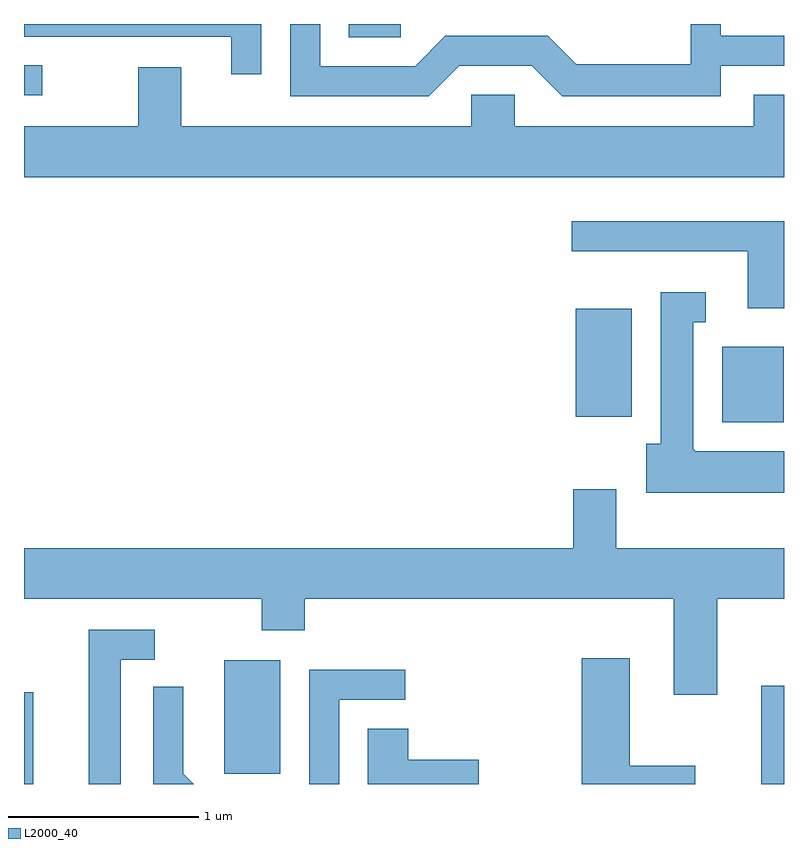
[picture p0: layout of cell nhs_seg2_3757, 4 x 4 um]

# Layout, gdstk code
import gdstk
lib = gdstk.Library(unit=1e-6, precision=1e-09)
def R(c, l, rs):  # rectangles x0, y0, x1, y1
    for r in rs: c.add(gdstk.rectangle(r[:2], r[2:], *l))
def P(c, l, *ps):  # polygons
    for p in ps: c.add(gdstk.Polygon(p, *l))
L2000_40 = (2000, 40)

nhs_seg2_3757 = lib.new_cell('nhs_seg2_3757')
R(nhs_seg2_3757, L2000_40, [(295.611,1031.802,295.659,1032.284), (299.491,1031.802,299.611,1032.319), (296.666,1031.856,296.959,1032.454), (299.286,1033.706,299.609,1034.104), (298.516,1033.736,298.809,1034.304), (295.611,1035.426,295.708,1035.584), (297.321,1035.731,297.593,1035.802)])
P(nhs_seg2_3757, L2000_40, [(297.902,1035.581),(298.284,1035.581),(298.444,1035.421),(299.279,1035.421),(299.279,1035.581),(299.611,1035.581),(299.611,1035.739),(299.279,1035.739),(299.279,1035.802),(299.121,1035.802),(299.121,1035.589),(298.517,1035.589),(298.367,1035.739),(297.829,1035.739),(297.669,1035.579),(297.169,1035.579),(297.169,1035.802),(297.011,1035.802),(297.011,1035.421),(297.742,1035.421)],
  [(296.859,1035.802),(295.611,1035.802),(295.611,1035.736),(296.701,1035.736),(296.701,1035.537),(296.859,1035.537)],
  [(299.611,1035.429),(299.451,1035.429),(299.451,1035.264),(298.194,1035.264),(298.194,1035.429),(297.966,1035.429),(297.966,1035.264),(296.439,1035.264),(296.439,1035.574),(296.211,1035.574),(296.211,1035.264),(295.611,1035.264),(295.611,1034.996),(299.611,1034.996)],
  [(299.611,1034.764),(298.493,1034.764),(298.493,1034.606),(299.421,1034.606),(299.421,1034.306),(299.611,1034.306)],
  [(299.611,1033.554),(299.14,1033.554),(299.14,1033.56),(299.134,1033.56),(299.134,1034.231),(299.198,1034.231),(299.198,1034.389),(298.961,1034.389),(298.961,1033.594),(298.886,1033.594),(298.886,1033.336),(299.611,1033.336)],
  [(299.259,1032.776),(299.611,1032.776),(299.611,1033.044),(298.729,1033.044),(298.729,1033.354),(298.501,1033.354),(298.501,1033.044),(295.611,1033.044),(295.611,1032.776),(296.861,1032.776),(296.861,1032.611),(297.089,1032.611),(297.089,1032.776),(299.031,1032.776),(299.031,1032.271),(299.259,1032.271)],
  [(296.119,1032.456),(296.298,1032.456),(296.298,1032.614),(295.951,1032.614),(295.951,1031.802),(296.119,1031.802)],
  [(299.144,1031.899),(298.799,1031.899),(298.799,1032.464),(298.546,1032.464),(298.546,1031.802),(299.144,1031.802)],
  [(297.269,1032.246),(297.618,1032.246),(297.618,1032.404),(297.111,1032.404),(297.111,1031.802),(297.269,1031.802)],
  [(296.449,1031.857),(296.449,1032.313),(296.291,1032.313),(296.291,1031.802),(296.504,1031.802)],
  [(298.004,1031.929),(297.634,1031.929),(297.634,1032.094),(297.421,1032.094),(297.421,1031.802),(298.004,1031.802)])

lib.write_gds('nhs_seg2_3757.gds')
